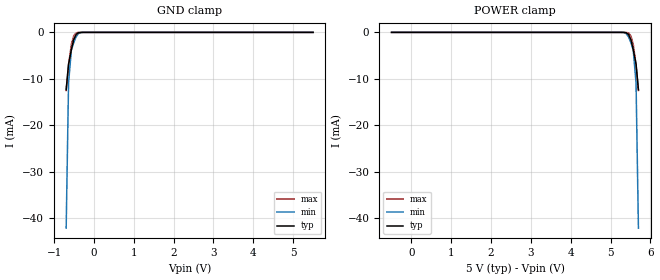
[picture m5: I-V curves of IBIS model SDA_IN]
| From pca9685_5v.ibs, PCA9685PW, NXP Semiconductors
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[Model]   SDA_IN
Model_type Input
Vinh=3.5
Vinl=1.5
C_comp   1.3p   1.2p   1.4p
[Temperature Range] 27   85   -40
[Voltage Range]   5   4.5   5.5
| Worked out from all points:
|   GND clamp passes 1 mA (typ) near -0.48 V on its own axis
[GND Clamp]
-700mV    -12.37mA   -42.13mA   -12.51mA
-640mV    -6.804mA   -10.91mA   -7.019mA
-570mV    -3.735mA   -3.853mA   -2.597mA
-510mV    -1.54mA    -2.201mA   -734uA
-450mV    -443.5uA   -938.3uA   -114.5uA
-390mV    -79.15uA   -245.5uA   -10.39uA
-200mV    -52.85nA   -396.6nA   -1.479nA
5.5V      469.5pA    1.022nA    408.6pA
[POWER Clamp]
-500mV    469.5pA    1.022nA    408.6pA
5.2V      -52.85nA   -396.6nA   -1.479nA
5.39V     -79.15uA   -245.5uA   -10.39uA
5.45V     -443.5uA   -938.3uA   -114.5uA
5.51V     -1.54mA    -2.201mA   -734uA
5.57V     -3.735mA   -3.853mA   -2.597mA
5.64V     -6.804mA   -10.91mA   -7.019mA
5.7V      -12.37mA   -42.13mA   -12.51mA
